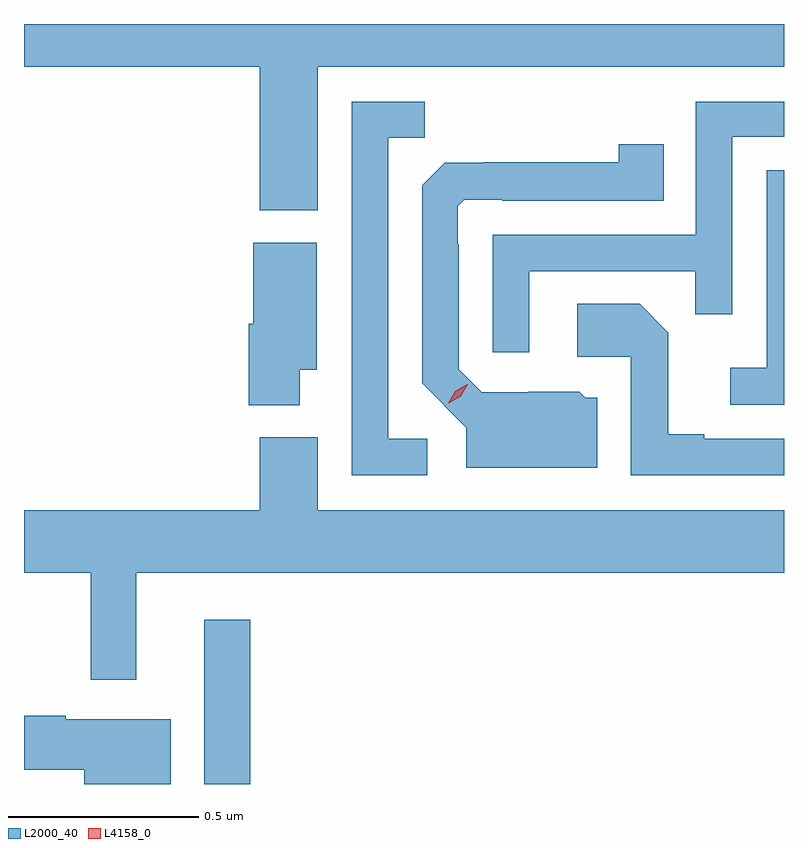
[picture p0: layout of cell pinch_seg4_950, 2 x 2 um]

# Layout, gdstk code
import gdstk
lib = gdstk.Library(unit=1e-6, precision=1e-09)
def R(c, l, rs):  # rectangles x0, y0, x1, y1
    for r in rs: c.add(gdstk.rectangle(r[:2], r[2:], *l))
def P(c, l, *ps):  # polygons
    for p in ps: c.add(gdstk.Polygon(p, *l))
L2000_40 = (2000, 40)
L4158_0 = (4158, 0)

pinch_seg4_950 = lib.new_cell('pinch_seg4_950')
R(pinch_seg4_950, L2000_40, [(648.083,797.596,648.205,798.028)])
P(pinch_seg4_950, L2000_40, [(648.382,799.484),(649.609,799.484),(649.609,799.596),(647.609,799.596),(647.609,799.484),(648.23,799.484),(648.23,799.106),(648.382,799.106)],
  [(648.67,798.504),(648.567,798.504),(648.567,799.297),(648.663,799.297),(648.663,799.392),(648.471,799.392),(648.471,798.408),(648.67,798.408)],
  [(648.939,798.945),(649.375,798.945),(649.375,798.832),(649.473,798.832),(649.473,799.299),(649.609,799.299),(649.609,799.392),(649.377,799.392),(649.377,799.041),(648.843,799.041),(648.843,798.732),(648.939,798.732)],
  [(649.117,798.612),(649.086,798.612),(649.07,798.628),(648.936,798.628),(648.936,798.627),(648.813,798.627),(648.753,798.687),(648.753,799.016),(648.75,799.016),(648.75,799.116),(648.768,799.134),(648.868,799.134),(648.868,799.131),(649.292,799.131),(649.292,799.279),(649.174,799.279),(649.174,799.232),(648.817,799.232),(648.817,799.231),(648.716,799.231),(648.657,799.172),(648.657,798.65),(648.773,798.534),(648.773,798.428),(649.117,798.428)],
  [(649.609,799.211),(649.563,799.211),(649.563,798.691),(649.467,798.691),(649.467,798.594),(649.609,798.594)],
  [(648.334,798.686),(648.379,798.686),(648.379,799.021),(648.212,799.021),(648.212,798.807),(648.2,798.807),(648.2,798.593),(648.334,798.593)],
  [(649.609,798.504),(649.399,798.504),(649.399,798.517),(649.305,798.517),(649.305,798.784),(649.229,798.86),(649.065,798.86),(649.065,798.72),(649.206,798.72),(649.206,798.408),(649.609,798.408)],
  [(647.905,798.152),(649.609,798.152),(649.609,798.316),(648.382,798.316),(648.382,798.508),(648.23,798.508),(648.23,798.316),(647.609,798.316),(647.609,798.152),(647.784,798.152),(647.784,797.871),(647.905,797.871)],
  [(647.995,797.767),(647.719,797.767),(647.719,797.775),(647.609,797.775),(647.609,797.633),(647.768,797.633),(647.768,797.596),(647.995,797.596)])
P(pinch_seg4_950, L4158_0, [(648.726,798.598),(648.726,798.598),(648.744,798.63),(648.776,798.648),(648.777,798.648),(648.777,798.648),(648.758,798.616),(648.727,798.598)])

lib.write_gds('pinch_seg4_950.gds')
